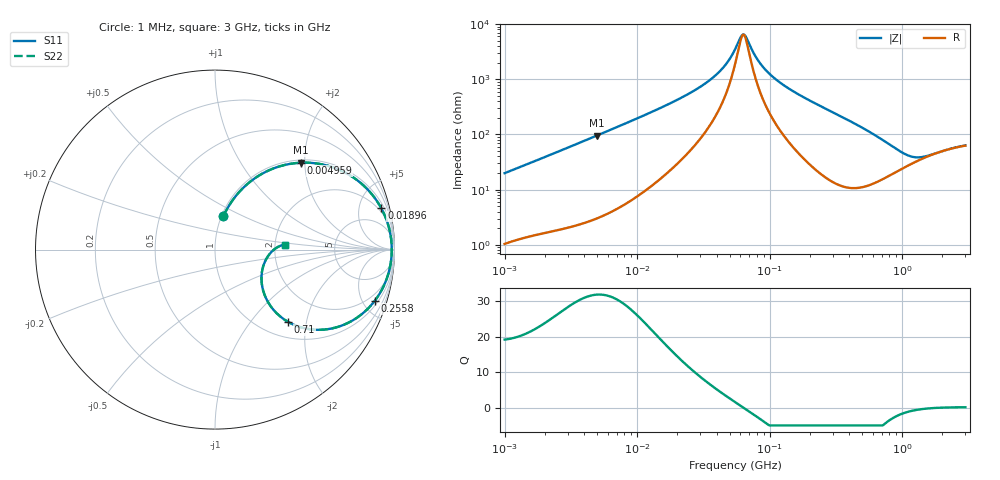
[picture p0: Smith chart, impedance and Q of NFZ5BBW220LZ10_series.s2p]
! NFZ5BBW220LZ10
# Hz S RI R 50
!Freq.(Hz) S11(Real) S11(Imag) S21(Real) S21(Imag) S12(Real) S12(Imag) S22(Real) S22(Imag)
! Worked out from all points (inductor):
!   401 points, 1 MHz to 3 GHz, reference 50 ohm
!   read as one part in series: L = 3.12 uH near 1.041 MHz
!   highest Q = 31.8 at 4.959 MHz (marker M1), where L = 3.06 uH
!   self-resonance near 63.01 MHz
!   S11 on the Smith chart (normalised r, x): 1 MHz: 1.02, +0.40; 4.959 MHz: 1.06, +1.91; 18.96 MHz: 1.52, +7.91; 255.8 MHz: 1.35, -6.10; 710 MHz: 1.31, -1.57; 3 GHz: 2.26, +0.15
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1000000  0.0471 0.1873  0.9529 -0.1873  0.9529 -0.1873  0.0471 0.1873
2055611  0.147 0.3339  0.853 -0.3339  0.853 -0.3339  0.147 0.3339
3823119  0.3554 0.4626  0.6446 -0.4626  0.6446 -0.4626  0.3554 0.4626
4959344  0.4773 0.484  0.5227 -0.484  0.5227 -0.484  0.4773 0.484
8861669  0.7408 0.4205  0.2592 -0.4205  0.2592 -0.4205  0.7408 0.4205
1.461624e7  0.8845 0.2952  0.1155 -0.2952  0.1155 -0.2952  0.8845 0.2952
1.896016e7  0.9269 0.2296  0.0731 -0.2296  0.0731 -0.2296  0.9269 0.2296
3.74453e7  0.9768 0.0878  0.0232 -0.0878  0.0232 -0.0878  0.9768 0.0878
4.666789e7  0.9823 0.0498  0.0177 -0.0498  0.0177 -0.0498  0.9823 0.0498
5.477226e7  0.9843 0.0236  0.0157 -0.0236  0.0157 -0.0236  0.9843 0.0236
6.053752e7  0.9848 0.00741  0.0152 -0.00741  0.0152 -0.00741  0.9848 0.00741
6.428402e7  0.9849 -0.00225  0.0151 0.00225  0.0151 0.00225  0.9849 -0.00225
8.173662e7  0.9831 -0.0413  0.0169 0.0413  0.0169 0.0413  0.9831 -0.0413
9.787053e7  0.9795 -0.072  0.0205 0.072  0.0205 0.072  0.9795 -0.072
1.348146e8  0.9665 -0.1319  0.0335 0.1319  0.0335 0.1319  0.9665 -0.1319
2.094008e8  0.9249 -0.2323  0.0751 0.2323  0.0751 0.2323  0.9249 -0.2323
2.558035e8  0.8899 -0.2856  0.1101 0.2856  0.1101 0.2856  0.8899 -0.2856
4.853736e8  0.6447 -0.4405  0.3553 0.4405  0.3553 0.4405  0.6447 -0.4405
7.099691e8  0.4074 -0.403  0.5926 0.403  0.5926 0.403  0.4074 -0.403
8.005644e8  0.3435 -0.3546  0.6565 0.3546  0.6565 0.3546  0.3435 -0.3546
1.320433e9  0.266 -0.1022  0.734 0.1022  0.734 0.1022  0.266 -0.1022
3e9  0.3874 0.0278  0.6126 -0.0278  0.6126 -0.0278  0.3874 0.0278
